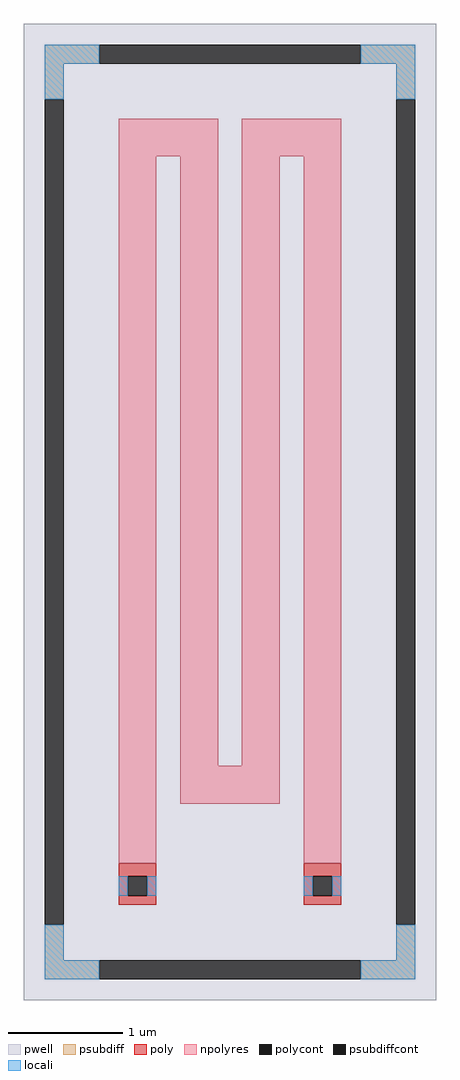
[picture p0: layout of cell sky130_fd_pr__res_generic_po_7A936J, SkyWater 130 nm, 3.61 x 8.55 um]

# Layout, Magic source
magic
tech sky130B
magscale 1 2
<< pwell >>
rect -361 -855 361 855
<< psubdiff >>
rect -325 785 -229 819
rect 229 785 325 819
rect -325 723 -291 785
rect 291 723 325 785
rect -325 -785 -291 -723
rect 291 -785 325 -723
rect -325 -819 -229 -785
rect 229 -819 325 -785
<< psubdiffcont >>
rect -229 785 229 819
rect -325 -723 -291 723
rect 291 -723 325 723
rect -229 -819 229 -785
<< poly >>
rect -195 -638 -129 -615
rect -195 -672 -179 -638
rect -145 -672 -129 -638
rect -195 -688 -129 -672
rect 129 -638 195 -615
rect 129 -672 145 -638
rect 179 -672 195 -638
rect 129 -688 195 -672
<< polycont >>
rect -179 -672 -145 -638
rect 145 -672 179 -638
<< npolyres >>
rect -195 623 -21 689
rect -195 -615 -129 623
rect -87 -445 -21 623
rect 21 623 195 689
rect 21 -445 87 623
rect -87 -511 87 -445
rect 129 -615 195 623
<< locali >>
rect -325 785 -229 819
rect 229 785 325 819
rect -325 723 -291 785
rect 291 723 325 785
rect -195 -672 -179 -638
rect -145 -672 -129 -638
rect 129 -672 145 -638
rect 179 -672 195 -638
rect -325 -785 -291 -723
rect 291 -785 325 -723
rect -325 -819 -229 -785
rect 229 -819 325 -785
<< properties >>
string FIXED_BBOX -308 -802 308 802
string gencell sky130_fd_pr__res_generic_po
string library sky130
string parameters w 0.33 l 6 m 1 nx 4 wmin 0.330 lmin 1.650 rho 48.2 val 3.825k dummy 0 dw 0.0 term 0.0 sterm 0.0 caplen 0.4 snake 1 guard 1 glc 1 grc 1 gtc 1 gbc 1 roverlap 0 endcov 100 full_metal 1 hv_guard 0 n_guard 0 vias 1 viagb 0 viagt 0 viagl 0 viagr 0
<< end >>
